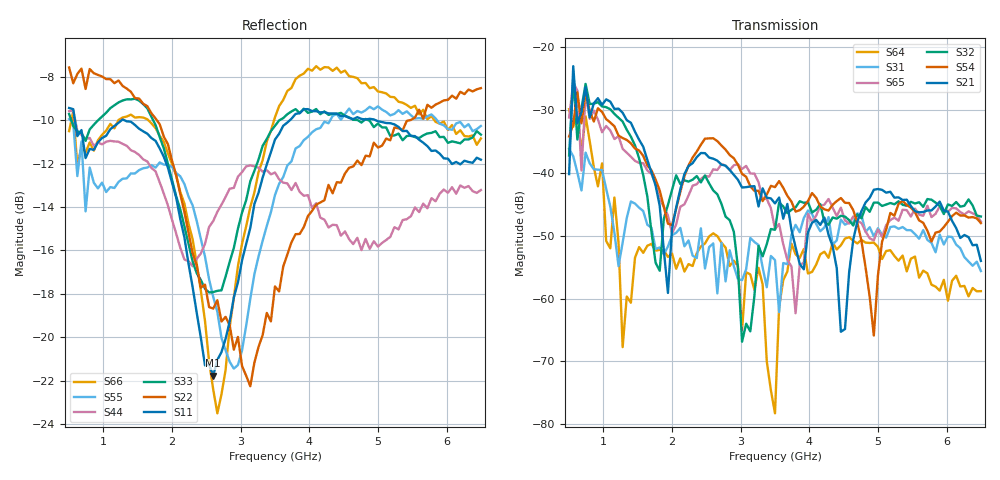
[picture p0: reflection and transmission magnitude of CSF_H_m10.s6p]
!Keysight Technologies,M9804A,MY58100912,A.14.10.03
!Date: Thursday, April 27, 2023 10:28:33
!Correction: S11(C  6-Port  )
!S12(C  6-Port  )
!S13(C  6-Port  )
!S14(C  6-Port  )
!S15(C  6-Port  )
!S16(C  6-Port  )
!S21(C  6-Port  )
!S22(C  6-Port  )
!S23(C  6-Port  )
!S24(C  6-Port  )
!S25(C  6-Port  )
!S26(C  6-Port  )
!S31(C  6-Port  )
!S32(C  6-Port  )
!S33(C  6-Port  )
!S34(C  6-Port  )
!S35(C  6-Port  )
!S36(C  6-Port  )
!S41(C  6-Port  )
!S42(C  6-Port  )
!S43(C  6-Port  )
!S44(C  6-Port  )
!S45(C  6-Port  )
!S46(C  6-Port  )
!S51(C  6-Port  )
!S52(C  6-Port  )
!S53(C  6-Port  )
!S54(C  6-Port  )
!S55(C  6-Port  )
!S56(C  6-Port  )
!S61(C  6-Port  )
!S62(C  6-Port  )
!S63(C  6-Port  )
!S64(C  6-Port  )
!S65(C  6-Port  )
!S66(C  6-Port  )
!S6P File: Measurement: :
# Hz S  RI  R 50
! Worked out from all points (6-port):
!   101 points, 500 MHz to 6.5 GHz, reference 50 ohm
!   strongest paths, dB at 500 MHz, 2 GHz, 3.5 GHz, 5 GHz, 6.5 GHz:
!     S21: -40.2, -48.9, -44.9, -42.6, -54.0
!     S54: -34.2, -48.3, -42.3, -56.3, -48.0
!     S32: -37.2, -42.7, -49.0, -44.7, -46.9
!     S65: -31.2, -49.7, -48.9, -49.0, -47.7
!     S31: -36.2, -49.9, -53.9, -48.8, -55.6
!     S64: -29.9, -52.8, -78.3, -51.8, -58.8
!   lowest |S11| = -21.8 dB at 2.6 GHz (marker M1), VSWR 1.18, Z = 42.7 + j1.98 ohm
!   |S11| at or under -10 dB: 584.6 MHz to 1.266 GHz (681.6 MHz wide, 73.7 % of centre); 1.304 GHz to 3.717 GHz (2.412 GHz wide, 96.1 % of centre); 4.966 GHz to end of sweep
